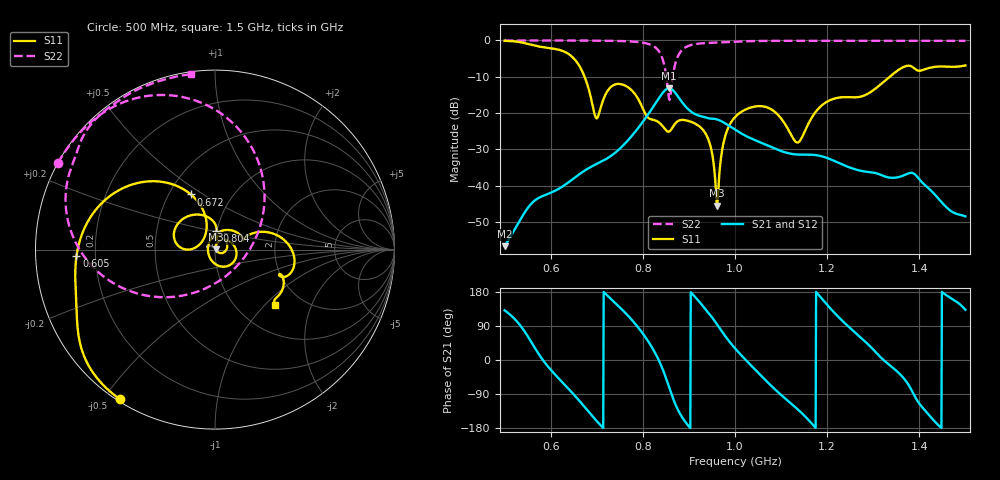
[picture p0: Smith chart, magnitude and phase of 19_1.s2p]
! TOUCHSTONE file generated by CST MICROWAVE STUDIO
! Date and time: Mon Oct 26 12:07:18 2020
! Project name: Scenario_1_Circular_Tissue_out_of_Line_v2.cst
! Parameters = {dy1=-34.6; L_HA=400; MT=2.54; Rad_Dielectric=30; Rad_Lower=7.3; Rad_Upper=30; a_HA=580; a_WG=246; b_HA=500; b_WG=121; c_HA=0; c_WG=187; d_feed=85; dx1=173; h_feed=15; h_lower=18; h_upper=40}
! Header version: 2018
! Port assignment regex: !\s*Touchstone port\s*([0-9]+)\s*=\s*(CST MWS port|CST DS port)\s*([0-9]+|Zmin|Zmax)\s*\(\"(.*)\"\)(\s*mode\s*([0-9]+))?.*
! Touchstone port assignment:
! Touchstone port 1 = CST MWS port 1 ("")
! Touchstone port 2 = CST MWS port 2 ("")
# GHz S DB R 50
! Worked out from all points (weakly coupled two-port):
!   1003 points, 500 MHz to 1.5 GHz, reference 50 ohm
!   highest |S21| = -13.15 dB at 857 MHz (marker M1); lowest = -56.6 dB at 500 MHz (marker M2)
!   lowest |S11| = -45.5 dB at 961 MHz (marker M3), VSWR 1.01, Z = 50.5 + j0.136 ohm
!   |S11| at or under -10 dB: 673.6 MHz to 1.336 GHz (662 MHz wide, 65.9 % of centre)
!   |S22| runs from -16.4 to 0.0 dB; largest |S21 - S12| = 0.0019
!   S11 on the Smith chart (normalised r, x): 500 MHz: 0.01, -0.55; 605 MHz: 0.13, -0.02; 672 MHz: 0.64, +0.44; 804 MHz: 1.00, +0.20; 1.5 GHz: 1.47, -1.14
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0.5  -0.10 -122.5  -56.59 131.2  -56.59 131.3  -0.01 151.1
0.557  -1.18 -151.5  -45.04 49.3  -45.04 49.3  -0.01 147.3
0.605  -2.24 -177.3  -41.63 -32.5  -41.63 -32.5  -0.02 143.7
0.667  -8.11 118.9  -36.37 -114.6  -36.37 -114.6  -0.04 138.4
0.672  -9.49 113.6  -35.94 -121.8  -35.94 -121.8  -0.04 137.9
0.699  -21.41 142.3  -34.03 -160.1  -34.03 -160.1  -0.07 135.0
0.745  -11.97 150.1  -30.35 144.7  -30.35 144.7  -0.15 128.4
0.804  -19.84 85.5  -21.68 62.9  -21.68 62.9  -0.71 111.0
0.834  -22.47 84.8  -16.06 0.9  -16.06 0.9  -2.83 83.1
0.857  -25.08 85.2  -13.15 -71.8  -13.15 -71.8  -16.12 -29.5
0.868  -23.24 85.2  -14.05 -109.0  -14.05 -109.0  -7.76 -139.7
0.888  -21.87 55.1  -17.46 -156.2  -17.46 -156.2  -2.29 178.2
0.938  -26.05 -19.3  -21.22 130.6  -21.17 130.9  -0.71 150.6
0.961  -45.50 14.7  -21.73 93.8  -21.82 93.2  -0.57 146.1
0.977  -27.16 68.5  -22.68 65.9  -22.71 66.0  -0.46 143.7
1  -21.09 34.1  -24.55 30.8  -24.55 30.6  -0.32 140.5
1.071  -18.48 -46.7  -28.91 -59.0  -28.91 -59.1  -0.13 132.4
1.135  -28.09 -176.9  -31.38 -129.0  -31.38 -129.0  -0.10 126.7
1.167  -21.15 87.5  -31.45 -168.1  -31.45 -168.1  -0.11 124.2
1.334  -10.18 18.2  -37.70 -11.9  -37.70 -11.9  -0.09 111.5
1.387  -7.46 -20.6  -36.55 -88.5  -36.55 -88.5  -0.10 107.4
1.5  -6.88 -42.9  -48.39 132.5  -48.40 132.5  -0.12 97.9
